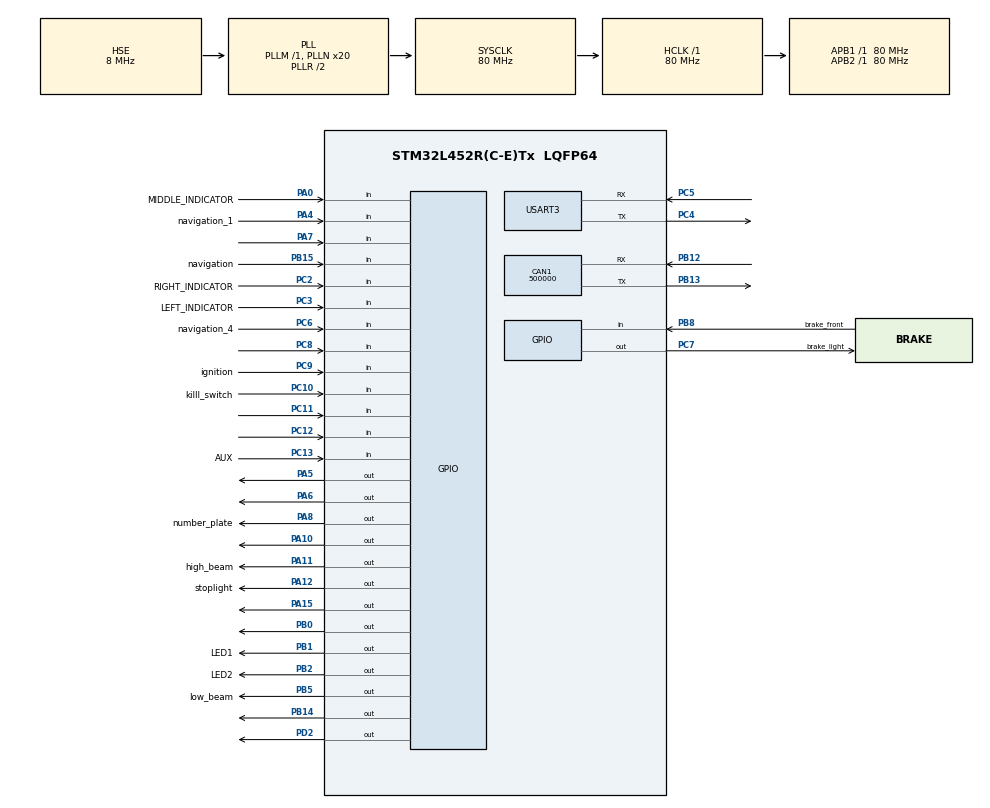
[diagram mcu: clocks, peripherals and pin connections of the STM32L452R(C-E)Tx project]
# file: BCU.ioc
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Mcu.Family=STM32L4
RCC.CortexFreq_Value=80000000
PC10.GPIO_PuPd=GPIO_PULLUP
NVIC.TIM6_DAC_IRQn=true\:0\:0\:false\:false\:true\:true\:true
PH0-OSC_IN\ (PH0).Signal=RCC_OSC_IN
PC12.Signal=GPIO_Input
PC10.Signal=GPIO_Input
PA0.GPIO_Label=MIDDLE_INDICATOR
PC6.GPIO_Label=navigation_4
PA15\ (JTDI).Signal=GPIO_Output
PC5.Mode=Asynchronous
PC13.GPIO_Label=AUX
PB13.Signal=CAN1_TX
PB15.Signal=GPIO_Input
RCC.SYSCLKSource=RCC_SYSCLKSOURCE_PLLCLK
ProjectManager.StackSize=0x400
USART3.VirtualMode-Asynchronous=VM_ASYNC
PC11.GPIO_PuPd=GPIO_PULLUP
PA14\ (JTCK/SWCLK).Signal=SYS_JTCK-SWCLK
PA12.Signal=GPIO_Output
RCC.HCLKFreq_Value=80000000
RCC.APB2TimFreq_Value=80000000
PC7.Signal=GPIO_Output
PC3.Signal=GPIO_Input
RCC.AHBFreq_Value=80000000
PH1-OSC_OUT\ (PH1).Mode=HSE-External-Oscillator
RCC.HSE_VALUE=8000000
PA4.GPIO_PuPd=GPIO_PULLUP
PB2.Signal=GPIO_Output
PB1.GPIO_Label=LED1
NVIC.TIM2_IRQn=true\:0\:0\:false\:false\:true\:true\:true
PC13.GPIO_PuPd=GPIO_PULLUP
PA8.Signal=GPIO_Output
PA14\ (JTCK/SWCLK).Mode=Serial_Wire
TIM6.Period=8000-1
PA0.Signal=GPIO_Input
Mcu.Package=LQFP64
TIM2.Prescaler=1000-1
PB14.GPIO_PuPd=GPIO_PULLDOWN
PB1.Signal=GPIO_Output
PA6.Signal=GPIO_Output
PB12.Mode=CAN_Activate
PB15.GPIO_PuPd=GPIO_PULLUP
PA0.GPIO_PuPd=GPIO_PULLUP
PA10.Signal=GPIO_Output
PC6.GPIO_PuPd=GPIO_PULLUP
PB5.GPIO_Label=low_beam
RCC.APB1TimFreq_Value=80000000
PC5.Signal=USART3_RX
PB13.Mode=CAN_Activate
PC12.GPIO_PuPd=GPIO_PULLUP
CAN1.CalculateTimeBit=2000.00
PA4.GPIO_Label=navigation_1
PH0-OSC_IN\ (PH0).Mode=HSE-External-Oscillator
PC2.GPIO_Label=RIGHT_INDICATOR
PC4.Mode=Asynchronous
RCC.HSI48_VALUE=48000000
CAN1.CalculateTimeQuantum=200.0
RCC.MSI_VALUE=4000000
RCC.PLLSourceVirtual=RCC_PLLSOURCE_HSE
PA13\ (JTMS/SWDIO).Mode=Serial_Wire
TIM2.CounterMode=TIM_COUNTERMODE_UP
PC10.GPIO_Label=killl_switch
PC9.GPIO_Label=ignition
PC11.Signal=GPIO_Input
PC13.Signal=GPIO_Input
CAN1.CalculateBaudRate=500000
PC8.Signal=GPIO_Input
PB8.GPIO_PuPd=GPIO_PULLUP
TIM6.Prescaler=1000-1
PC2.Signal=GPIO_Input
PC4.Signal=USART3_TX
PC6.Signal=GPIO_Input
VP_TIM6_VS_ClockSourceINT.Mode=Enable_Timer
PA11.GPIO_Label=high_beam
PA12.GPIO_Label=stoplight
PH1-OSC_OUT\ (PH1).Signal=RCC_OSC_OUT
TIM6.AutoReloadPreload=TIM_AUTORELOAD_PRELOAD_ENABLE
PB8.GPIO_Label=brake_front
PA8.GPIO_Label=number_plate
CAN1.BS2=CAN_BS2_3TQ
CAN1.BS1=CAN_BS1_6TQ
ProjectManager.TargetToolchain=STM32CubeIDE
RCC.USBFreq_Value=32000000
RCC.LSE_VALUE=32768
PA7.GPIO_PuPd=GPIO_PULLUP
PB14.Signal=GPIO_Output
PA5.Signal=GPIO_Output
board=custom
RCC.VCOOutputFreq_Value=160000000
RCC.APB2Freq_Value=80000000
PB15.GPIO_Label=navigation
VP_TIM2_VS_ClockSourceINT.Mode=Internal
RCC.ADCFreq_Value=32000000
PC9.GPIO_PuPd=GPIO_PULLUP
PC2.GPIO_PuPd=GPIO_PULLUP
TIM2.Period=40000-1
Mcu.Name=STM32L452R(C-E)Tx
PC7.GPIO_Label=brake_light
PC8.GPIO_PuPd=GPIO_PULLUP
PA4.Signal=GPIO_Input
RCC.SYSCLKFreq_VALUE=80000000
PB5.Signal=GPIO_Output
PA11.Signal=GPIO_Output
PB2.GPIO_Label=LED2
ProjectManager.HeapSize=0x200
RCC.HSI_VALUE=16000000
NVIC.PriorityGroup=NVIC_PRIORITYGROUP_4
RCC.PLLN=20
PB8.Signal=GPIO_Input
TIM2.AutoReloadPreload=TIM_AUTORELOAD_PRELOAD_ENABLE
PC3.GPIO_Label=LEFT_INDICATOR
PC9.Signal=GPIO_Input
PD2.Signal=GPIO_Output
RCC.APB1Freq_Value=80000000
PB0.Signal=GPIO_Output
PB12.Signal=CAN1_RX
PA13\ (JTMS/SWDIO).Signal=SYS_JTMS-SWDIO
PC3.GPIO_PuPd=GPIO_PULLUP
PA7.Signal=GPIO_Input

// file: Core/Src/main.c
/* USER CODE BEGIN Header */
/**
 ******************************************************************************
 * @file           : main.c
 * @brief          : Main program body
 ******************************************************************************
 * @attention
 *
 * <h2><center>&copy; Copyright (c) 2021 STMicroelectronics.
 * All rights reserved.</center></h2>
 *
 * This software component is licensed by ST under BSD 3-Clause license,
 * the "License"; You may not use this file except in compliance with the
 * License. You may obtain a copy of the License at:
 *                        opensource.org/licenses/BSD-3-Clause
 *
 ******************************************************************************
 */
/* USER CODE END Header */
#include "main.h"

/* USER CODE BEGIN Includes */
#include "J1939.H"
#include "stdlib.h"
#include "J1939_Config.H"
#include <stdint.h>
#include <stdlib.h>
#include <switch.H>
/* USER CODE END Includes */

/* USER CODE BEGIN PTD */
#define BCU
/* USER CODE END PTD */

CAN_HandleTypeDef hcan1;

TIM_HandleTypeDef htim2;
TIM_HandleTypeDef htim6;

UART_HandleTypeDef huart3;

/* USER CODE BEGIN PV */
uint8_t response_data[8];
char uart_buf[50];
int uart_buf_len;
uint16_t timer_val;
uint16_t ran;
j1939_uint8_t  *info;
j1939_uint8_t _info;
struct Key_Info Key_Infovar;
struct Motorcontroller_Status Motorcontroller_Statusvar;
struct Switch_Info Switch_Infovar;
struct Motorcontroller_command Motorcontroller_commandvar;
struct BMS_Status BMS_Statusvar;
struct VCU_Status VCU_Statusvar;

 uint8_t flag1=1;
 uint8_t flag2=1;
 uint8_t cnt1=0;
 uint8_t  count=0;
 uint8_t count1=0;
J1939_MESSAGE Message;
/* USER CODE END PV */

void SystemClock_Config(void);
static void MX_GPIO_Init(void);
static void MX_CAN1_Init(void);
static void MX_TIM6_Init(void);
static void MX_USART3_UART_Init(void);
static void MX_TIM2_Init(void);

/* USER CODE BEGIN 0 */
void sendMsg_KEYINFO(J1939_MESSAGE *Message)
{

	J1939_MESSAGE _msgKEYINFO;
	_msgKEYINFO=*Message;

	//uint8_t buf[]="2";
	_msgKEYINFO.Mxe.DataPage = 0;
	_msgKEYINFO.Mxe.Priority = 0x01;
	_msgKEYINFO.Mxe.DestinationAddress = 0x33;//changed from 33 to 31//destination is all
	_msgKEYINFO.Mxe.DataLength = 8;
	_msgKEYINFO.Mxe.PDUFormat = 0xf1;
	_msgKEYINFO.Mxe.SourceAddress = 0x33;

	//	_msgKEYINFO.Mxe.Data[0] = 0;
	//	_msgKEYINFO.Mxe.Data[1] = 0;
	//	_msgKEYINFO.Mxe.Data[2] = 0;
	//	_msgKEYINFO.Mxe.Data[3] = 0;
	//	_msgKEYINFO.Mxe.Data[4] = 0;
	//	_msgKEYINFO.Mxe.Data[5] = 0;
	//	_msgKEYINFO.Mxe.Data[6] = 0;
	//	_msgKEYINFO.Mxe.Data[7] = 'k';

	//J1939_TP_TX_Message(0xf133, 0xff, buf,1);
	while (J1939_Send_Message(&_msgKEYINFO)!= RC_SUCCESS);

	//HAL_UART_Transmit(&huart3,"send msg from keyinfo\r\n", 30, 1000);
}

void sendMsg_MOTORCONTROLLERCOMMANDS(J1939_MESSAGE *Message)
{
	J1939_MESSAGE _msgMOTORCONTROLLER_COMMANDS;
	_msgMOTORCONTROLLER_COMMANDS=*Message;

	//uint8_t buf[]="2";
	_msgMOTORCONTROLLER_COMMANDS.Mxe.DataPage = 0;
	_msgMOTORCONTROLLER_COMMANDS.Mxe.Priority = 0x03;
	_msgMOTORCONTROLLER_COMMANDS.Mxe.DestinationAddress = 0x11;
	_msgMOTORCONTROLLER_COMMANDS.Mxe.DataLength = 8;
	_msgMOTORCONTROLLER_COMMANDS.Mxe.PDUFormat = 0x17;
	_msgMOTORCONTROLLER_COMMANDS.Mxe.SourceAddress = 0x33;
	_msgMOTORCONTROLLER_COMMANDS.Mxe.PGN=0x1700;

	//	_msgMOTORCONTROLLER_COMMANDS.Mxe.Data[0] = 0x05;
	//	_msgMOTORCONTROLLER_COMMANDS.Mxe.Data[1] = 0;
	//	_msgMOTORCONTROLLER_COMMANDS.Mxe.Data[2] = 0;
	//	_msgMOTORCONTROLLER_COMMANDS.Mxe.Data[3] = 0;
	//	_msgMOTORCONTROLLER_COMMANDS.Mxe.Data[4] = 0;
	//	_msgMOTORCONTROLLER_COMMANDS.Mxe.Data[5] = 0;
	//	_msgMOTORCONTROLLER_COMMANDS.Mxe.Data[6] = 0;
	//	_msgMOTORCONTROLLER_COMMANDS.Mxe.Data[7] = '3';

	//J1939_TP_TX_Message(0xf133, 0xff, buf,1);
	while (J1939_Send_Message( &_msgMOTORCONTROLLER_COMMANDS) != RC_SUCCESS);
//	HAL_UART_Transmit(&huart3,"send msg from switchmotor\r\n", 30, 1000);

}

void sendMsg_SWITCHINFO(J1939_MESSAGE *Message)
{

	J1939_MESSAGE _msgSWITCHINFO;
	_msgSWITCHINFO=*Message;

	//uint8_t buf[]="2";
	_msgSWITCHINFO.Mxe.DataPage = 0;
	_msgSWITCHINFO.Mxe.Priority = 0x03;
	_msgSWITCHINFO.Mxe.DestinationAddress = 0x22;
	_msgSWITCHINFO.Mxe.DataLength = 8;
	_msgSWITCHINFO.Mxe.PDUFormat = 0x15;
	_msgSWITCHINFO.Mxe.SourceAddress = 0x33;

	//	_msgSWITCHINFO.Mxe.Data[0] = 0;
	//	_msgSWITCHINFO.Mxe.Data[1] = 0;
	//	_msgSWITCHINFO.Mxe.Data[2] = 0;
	//	_msgSWITCHINFO.Mxe.Data[3] = 0;
	//	_msgSWITCHINFO.Mxe.Data[4] = 0;
	//	_msgSWITCHINFO.Mxe.Data[5] = 0;
	//	_msgSWITCHINFO.Mxe.Data[6] = 0;
	//	_msgSWITCHINFO.Mxe.Data[7] = 's';

	//J1939_TP_TX_Message(0xf133, 0xff, buf,1);
	while (J1939_Send_Message( &_msgSWITCHINFO) != RC_SUCCESS);
//	HAL_UART_Transmit(&huart3,"send msg from switchinfo\r\n", 30, 1000);

}
void sendMsg_BMSSTATUS(J1939_MESSAGE *Message)
{
	J1939_MESSAGE _msgBMSSTATUS;

	_msgBMSSTATUS=*Message;
	_msgBMSSTATUS.Mxe.DataPage = 0;
	_msgBMSSTATUS.Mxe.Priority = 0x03;
	_msgBMSSTATUS.Mxe.DestinationAddress = 0x22;
	_msgBMSSTATUS.Mxe.DataLength = 8;
	_msgBMSSTATUS.Mxe.PDUFormat = 0xF4;
	_msgBMSSTATUS.Mxe.SourceAddress = 0x44;

//	_msgBMSSTATUS.Mxe.Data[0] = 0;
//	_msgBMSSTATUS.Mxe.Data[1] = 0;
//	_msgBMSSTATUS.Mxe.Data[2] = 0;
//	_msgBMSSTATUS.Mxe.Data[3] = 0;
//	_msgBMSSTATUS.Mxe.Data[4] = 0;
//	_msgBMSSTATUS.Mxe.Data[5] = 0;
//	_msgBMSSTATUS.Mxe.Data[6] = 0;
//	_msgBMSSTATUS.Mxe.Data[7] = 0;

	//J1939_TP_TX_Message(0xf133, 0xff, buf,1);
	while (J1939_Send_Message( &_msgBMSSTATUS) != RC_SUCCESS);
}

void sendMsg_MOTORCONTROLLERSTATUS(J1939_MESSAGE *Message)
{
	J1939_MESSAGE _msgMOTORCONTROLLERSTATUS;
	_msgMOTORCONTROLLERSTATUS =*Message;

	_msgMOTORCONTROLLERSTATUS.Mxe.DataPage = 0;
	_msgMOTORCONTROLLERSTATUS.Mxe.Priority = 0x03;
	_msgMOTORCONTROLLERSTATUS.Mxe.DestinationAddress = 0x33;//ds to all
	_msgMOTORCONTROLLERSTATUS.Mxe.DataLength = 1;
	_msgMOTORCONTROLLERSTATUS.Mxe.PDUFormat = 0xF2;
	_msgMOTORCONTROLLERSTATUS.Mxe.SourceAddress = 0x11;

//	_msgMOTORCONTROLLERSTATUS.Mxe.Data[0] = Motorcontroller_Statusvar.motorcontroller_state;
//	_msgMOTORCONTROLLERSTATUS.Mxe.Data[1] = 0;
//	_msgMOTORCONTROLLERSTATUS.Mxe.Data[2] = 0;
//	_msgMOTORCONTROLLERSTATUS.Mxe.Data[3] = 0;
//	_msgMOTORCONTROLLERSTATUS.Mxe.Data[4] = 0;
//	_msgMOTORCONTROLLERSTATUS.Mxe.Data[5] = 0;
//	_msgMOTORCONTROLLERSTATUS.Mxe.Data[6] = 0;
//	_msgMOTORCONTROLLERSTATUS.Mxe.Data[7] = 0;

	//J1939_TP_TX_Message(0xf133, 0xff, buf,1);
	while (J1939_Send_Message( &_msgMOTORCONTROLLERSTATUS) != RC_SUCCESS);

}

void readMsg( )
{

	J1939_MESSAGE _msg;

	//		j1939_uint8_t _data[50];
	//		TP_RX_MESSAGE _tp_msg;
	//		uint8_t s;
	//		_tp_msg.data = _data;
	//		_tp_msg.data_num=50;
	//		if(J1939_TP_RX_Message(&_tp_msg)==RC_SUCCESS)
	//		    {
	//
	//		    	   s++;
	//		    }

	if(J1939_Read_Message(&_msg) == RC_SUCCESS)
	{
		//BMS STATUS
		if(_msg.Mxe.PGN == 0xF422)
		{
			uint8_t a;
			a++;

		}
		//MOTORCONTROLLER STATUS
		else if(_msg.Mxe.PGN == 0xF233)
		{
			flag1=0;

		}
		//VCU STATUS
		else if(_msg.Mxe.PGN == 0X100)
		{
			flag2=0;

		}
		else
			;
	}

}
/* USER CODE END 0 */

int main(void)
{

  /* MCU Configuration--------------------------------------------------------*/

  /* Reset of all peripherals, Initializes the Flash interface and the Systick. */
  HAL_Init();

  /* USER CODE BEGIN Init */
	Key_Infovar.Key_In=0;
	Key_Infovar.Key_Off=0;
//	Microcontroller_Statusvar.motorcontroller_state=0;
	Motorcontroller_commandvar.brake=0;
	Motorcontroller_commandvar.ignition_command=0;

	Switch_Infovar.killswitch=0;
	Switch_Infovar.brake=0;
	Switch_Infovar.indicator=0;
	Switch_Infovar.highbeam=0;
	Switch_Infovar.navigation=0;
	BMS_Statusvar.BMS_Status=0;

  /* USER CODE END Init */

  /* Configure the system clock */
  SystemClock_Config();

  /* Initialize all configured peripherals */
  MX_GPIO_Init();
  MX_CAN1_Init();
  MX_TIM6_Init();
  MX_USART3_UART_Init();
  MX_TIM2_Init();
  /* USER CODE BEGIN 2 */

	HAL_GPIO_WritePin(GPIOB,GPIO_PIN_14,0);//stb used only microchip
	//HAL_GPIO_WritePin(GPIOC,GPIO_PIN_8,1);//voltage
	//HAL_CAN_ActivateNotification(&hcan1,CAN_IT_RX_FIFO0_MSG_PENDING|CAN_IT_ERROR);// interrupts activation
	J1939_SetAddressFilter();
	if(HAL_CAN_Start(&hcan1)!=HAL_OK)
	{
//		HAL_UART_Transmit(&huart3,"error in can_start\n\r", 20, 1000);
		Error_Handler();

	}
	J1939_Initialization();
	//HAL_TIM_Base_Start(&htim6);
	//HAL_TIM_Base_Start_IT(&htim6);

  /* USER CODE END 2 */

  /* Infinite loop */
  /* USER CODE BEGIN WHILE */
	while (1)
	{
		switches_call();

    /* USER CODE END WHILE */

		}
}

void SystemClock_Config(void)
{
  RCC_OscInitTypeDef RCC_OscInitStruct = {0};
  RCC_ClkInitTypeDef RCC_ClkInitStruct = {0};
  RCC_PeriphCLKInitTypeDef PeriphClkInit = {0};

  /** Initializes the RCC Oscillators according to the specified parameters
  * in the RCC_OscInitTypeDef structure.
  */
  RCC_OscInitStruct.OscillatorType = RCC_OSCILLATORTYPE_HSE;
  RCC_OscInitStruct.HSEState = RCC_HSE_ON;
  RCC_OscInitStruct.PLL.PLLState = RCC_PLL_ON;
  RCC_OscInitStruct.PLL.PLLSource = RCC_PLLSOURCE_HSE;
  RCC_OscInitStruct.PLL.PLLM = 1;
  RCC_OscInitStruct.PLL.PLLN = 20;
  RCC_OscInitStruct.PLL.PLLP = RCC_PLLP_DIV7;
  RCC_OscInitStruct.PLL.PLLQ = RCC_PLLQ_DIV2;
  RCC_OscInitStruct.PLL.PLLR = RCC_PLLR_DIV2;
  if (HAL_RCC_OscConfig(&RCC_OscInitStruct) != HAL_OK)
  {
    Error_Handler();
  }
  /** Initializes the CPU, AHB and APB buses clocks
  */
  RCC_ClkInitStruct.ClockType = RCC_CLOCKTYPE_HCLK|RCC_CLOCKTYPE_SYSCLK
                              |RCC_CLOCKTYPE_PCLK1|RCC_CLOCKTYPE_PCLK2;
  RCC_ClkInitStruct.SYSCLKSource = RCC_SYSCLKSOURCE_PLLCLK;
  RCC_ClkInitStruct.AHBCLKDivider = RCC_SYSCLK_DIV1;
  RCC_ClkInitStruct.APB1CLKDivider = RCC_HCLK_DIV1;
  RCC_ClkInitStruct.APB2CLKDivider = RCC_HCLK_DIV1;

  if (HAL_RCC_ClockConfig(&RCC_ClkInitStruct, FLASH_LATENCY_4) != HAL_OK)
  {
    Error_Handler();
  }
  PeriphClkInit.PeriphClockSelection = RCC_PERIPHCLK_USART3;
  PeriphClkInit.Usart3ClockSelection = RCC_USART3CLKSOURCE_PCLK1;
  if (HAL_RCCEx_PeriphCLKConfig(&PeriphClkInit) != HAL_OK)
  {
    Error_Handler();
  }
  /** Configure the main internal regulator output voltage
  */
  if (HAL_PWREx_ControlVoltageScaling(PWR_REGULATOR_VOLTAGE_SCALE1) != HAL_OK)
  {
    Error_Handler();
  }
}

static void MX_CAN1_Init(void)
{

  hcan1.Instance = CAN1;
  hcan1.Init.Prescaler = 16;
  hcan1.Init.Mode = CAN_MODE_NORMAL;
  hcan1.Init.SyncJumpWidth = CAN_SJW_1TQ;
  hcan1.Init.TimeSeg1 = CAN_BS1_6TQ;
  hcan1.Init.TimeSeg2 = CAN_BS2_3TQ;
  hcan1.Init.TimeTriggeredMode = DISABLE;
  hcan1.Init.AutoBusOff = DISABLE;
  hcan1.Init.AutoWakeUp = DISABLE;
  hcan1.Init.AutoRetransmission = DISABLE;
  hcan1.Init.ReceiveFifoLocked = DISABLE;
  hcan1.Init.TransmitFifoPriority = DISABLE;
  if (HAL_CAN_Init(&hcan1) != HAL_OK)
  {
    Error_Handler();
  }

}

static void MX_TIM2_Init(void)
{

  TIM_ClockConfigTypeDef sClockSourceConfig = {0};
  TIM_MasterConfigTypeDef sMasterConfig = {0};

  htim2.Instance = TIM2;
  htim2.Init.Prescaler = 1000-1;
  htim2.Init.CounterMode = TIM_COUNTERMODE_UP;
  htim2.Init.Period = 40000-1;
  htim2.Init.ClockDivision = TIM_CLOCKDIVISION_DIV1;
  htim2.Init.AutoReloadPreload = TIM_AUTORELOAD_PRELOAD_ENABLE;
  if (HAL_TIM_Base_Init(&htim2) != HAL_OK)
  {
    Error_Handler();
  }
  sClockSourceConfig.ClockSource = TIM_CLOCKSOURCE_INTERNAL;
  if (HAL_TIM_ConfigClockSource(&htim2, &sClockSourceConfig) != HAL_OK)
  {
    Error_Handler();
  }
  sMasterConfig.MasterOutputTrigger = TIM_TRGO_RESET;
  sMasterConfig.MasterSlaveMode = TIM_MASTERSLAVEMODE_DISABLE;
  if (HAL_TIMEx_MasterConfigSynchronization(&htim2, &sMasterConfig) != HAL_OK)
  {
    Error_Handler();
  }

}

static void MX_TIM6_Init(void)
{

  TIM_MasterConfigTypeDef sMasterConfig = {0};

  htim6.Instance = TIM6;
  htim6.Init.Prescaler = 1000-1;
  htim6.Init.CounterMode = TIM_COUNTERMODE_UP;
  htim6.Init.Period = 8000-1;
  htim6.Init.AutoReloadPreload = TIM_AUTORELOAD_PRELOAD_ENABLE;
  if (HAL_TIM_Base_Init(&htim6) != HAL_OK)
  {
    Error_Handler();
  }
  sMasterConfig.MasterOutputTrigger = TIM_TRGO_RESET;
  sMasterConfig.MasterSlaveMode = TIM_MASTERSLAVEMODE_DISABLE;
  if (HAL_TIMEx_MasterConfigSynchronization(&htim6, &sMasterConfig) != HAL_OK)
  {
    Error_Handler();
  }

}

static void MX_USART3_UART_Init(void)
{

  huart3.Instance = USART3;
  huart3.Init.BaudRate = 115200;
  huart3.Init.WordLength = UART_WORDLENGTH_8B;
  huart3.Init.StopBits = UART_STOPBITS_1;
  huart3.Init.Parity = UART_PARITY_NONE;
  huart3.Init.Mode = UART_MODE_TX_RX;
  huart3.Init.HwFlowCtl = UART_HWCONTROL_NONE;
  huart3.Init.OverSampling = UART_OVERSAMPLING_16;
  huart3.Init.OneBitSampling = UART_ONE_BIT_SAMPLE_DISABLE;
  huart3.AdvancedInit.AdvFeatureInit = UART_ADVFEATURE_NO_INIT;
  if (HAL_UART_Init(&huart3) != HAL_OK)
  {
    Error_Handler();
  }

}

static void MX_GPIO_Init(void)
{
  GPIO_InitTypeDef GPIO_InitStruct = {0};

  /* GPIO Ports Clock Enable */
  __HAL_RCC_GPIOC_CLK_ENABLE();
  __HAL_RCC_GPIOH_CLK_ENABLE();
  __HAL_RCC_GPIOA_CLK_ENABLE();
  __HAL_RCC_GPIOB_CLK_ENABLE();
  __HAL_RCC_GPIOD_CLK_ENABLE();

  /*Configure GPIO pin Output Level */
  HAL_GPIO_WritePin(GPIOA, GPIO_PIN_5|GPIO_PIN_6|number_plate_Pin|GPIO_PIN_10
                          |high_beam_Pin|stoplight_Pin|GPIO_PIN_15, GPIO_PIN_RESET);

  /*Configure GPIO pin Output Level */
  HAL_GPIO_WritePin(GPIOB, GPIO_PIN_0|LED1_Pin|LED2_Pin|GPIO_PIN_14
                          |low_beam_Pin, GPIO_PIN_RESET);

  /*Configure GPIO pin Output Level */
  HAL_GPIO_WritePin(brake_light_GPIO_Port, brake_light_Pin, GPIO_PIN_RESET);

  /*Configure GPIO pin Output Level */
  HAL_GPIO_WritePin(GPIOD, GPIO_PIN_2, GPIO_PIN_RESET);

  /*Configure GPIO pins : AUX_Pin RIGHT_INDICATOR_Pin LEFT_INDICATOR_Pin navigation_4_Pin
                           PC8 ignition_Pin killl_switch_Pin PC11
                           PC12 */
  GPIO_InitStruct.Pin = AUX_Pin|RIGHT_INDICATOR_Pin|LEFT_INDICATOR_Pin|navigation_4_Pin
                          |GPIO_PIN_8|ignition_Pin|killl_switch_Pin|GPIO_PIN_11
                          |GPIO_PIN_12;
  GPIO_InitStruct.Mode = GPIO_MODE_INPUT;
  GPIO_InitStruct.Pull = GPIO_PULLUP;
  HAL_GPIO_Init(GPIOC, &GPIO_InitStruct);

  /*Configure GPIO pins : MIDDLE_INDICATOR_Pin navigation_1_Pin PA7 */
  GPIO_InitStruct.Pin = MIDDLE_INDICATOR_Pin|navigation_1_Pin|GPIO_PIN_7;
  GPIO_InitStruct.Mode = GPIO_MODE_INPUT;
  GPIO_InitStruct.Pull = GPIO_PULLUP;
  HAL_GPIO_Init(GPIOA, &GPIO_InitStruct);

  /*Configure GPIO pins : PA5 PA6 number_plate_Pin PA10
                           high_beam_Pin stoplight_Pin PA15 */
  GPIO_InitStruct.Pin = GPIO_PIN_5|GPIO_PIN_6|number_plate_Pin|GPIO_PIN_10
                          |high_beam_Pin|stoplight_Pin|GPIO_PIN_15;
  GPIO_InitStruct.Mode = GPIO_MODE_OUTPUT_PP;
  GPIO_InitStruct.Pull = GPIO_NOPULL;
  GPIO_InitStruct.Speed = GPIO_SPEED_FREQ_LOW;
  HAL_GPIO_Init(GPIOA, &GPIO_InitStruct);

  /*Configure GPIO pins : PB0 LED1_Pin LED2_Pin low_beam_Pin */
  GPIO_InitStruct.Pin = GPIO_PIN_0|LED1_Pin|LED2_Pin|low_beam_Pin;
  GPIO_InitStruct.Mode = GPIO_MODE_OUTPUT_PP;
  GPIO_InitStruct.Pull = GPIO_NOPULL;
  GPIO_InitStruct.Speed = GPIO_SPEED_FREQ_LOW;
  HAL_GPIO_Init(GPIOB, &GPIO_InitStruct);

  /*Configure GPIO pin : PB14 */
  GPIO_InitStruct.Pin = GPIO_PIN_14;
  GPIO_InitStruct.Mode = GPIO_MODE_OUTPUT_PP;
  GPIO_InitStruct.Pull = GPIO_PULLDOWN;
  GPIO_InitStruct.Speed = GPIO_SPEED_FREQ_LOW;
  HAL_GPIO_Init(GPIOB, &GPIO_InitStruct);

  /*Configure GPIO pins : navigation_Pin brake_front_Pin */
  GPIO_InitStruct.Pin = navigation_Pin|brake_front_Pin;
  GPIO_InitStruct.Mode = GPIO_MODE_INPUT;
  GPIO_InitStruct.Pull = GPIO_PULLUP;
  HAL_GPIO_Init(GPIOB, &GPIO_InitStruct);

  /*Configure GPIO pin : brake_light_Pin */
  GPIO_InitStruct.Pin = brake_light_Pin;
  GPIO_InitStruct.Mode = GPIO_MODE_OUTPUT_PP;
  GPIO_InitStruct.Pull = GPIO_NOPULL;
  GPIO_InitStruct.Speed = GPIO_SPEED_FREQ_LOW;
  HAL_GPIO_Init(brake_light_GPIO_Port, &GPIO_InitStruct);

  /*Configure GPIO pin : PD2 */
  GPIO_InitStruct.Pin = GPIO_PIN_2;
  GPIO_InitStruct.Mode = GPIO_MODE_OUTPUT_PP;
  GPIO_InitStruct.Pull = GPIO_NOPULL;
  GPIO_InitStruct.Speed = GPIO_SPEED_FREQ_LOW;
  HAL_GPIO_Init(GPIOD, &GPIO_InitStruct);

}

/* USER CODE BEGIN 4 */

	void HAL_GPIO_EXTI_Callback(uint16_t GPIO_PIN)
	{
		if(GPIO_PIN==GPIO_PIN_11)
		{
			count++;//odd num on even off the key
			//count1=count;
			if(count%2==1)
			{
				count1=count;
				Key_Infovar.Key_Off=0;
				Key_Infovar.Key_In=1;
				Message.Mxe.Data[0]=0x02;
				HAL_TIM_Base_Start(&htim6);
				timer_val = __HAL_TIM_GET_COUNTER(&htim6);
				__HAL_TIM_ENABLE(&htim2);
				HAL_TIM_Base_Start_IT(&htim2);
				timer_val = __HAL_TIM_GET_COUNTER(&htim6) - timer_val;

				//sendMsg_KEYINFO(&Message);
				//memset(Message.Mxe.Data, 0, 1*sizeof(Message.Mxe.Data[0]));

			}
			else
			{
				//send message to all nodes
				//count1=count;
				Key_Infovar.Key_Off=1;
				Key_Infovar.Key_In=0;
				Message.Mxe.Data[0]=0x01;
				sendMsg_KEYINFO(&Message);
				memset(Message.Mxe.Data, 0, 1*sizeof(Message.Mxe.Data[0]));
			}
			if(count>=254)
				count=0;

			//__NVIC_ClearPendingIRQ(EXTI1_IRQn);// to avoid key bouncing
		}
		else if(GPIO_PIN==GPIO_PIN_10)
		{
			//kill switch
			//when kill is pressed ignition should be off

			Switch_Infovar.killswitch=1;
			Message.Mxe.Data[0]=0x04;
			sendMsg_SWITCHINFO(&Message);
			memset(Message.Mxe.Data, 0, 1*sizeof(Message.Mxe.Data[0]));

		}
		else if(GPIO_PIN==GPIO_PIN_9)
		{
			//ignition switch
			Motorcontroller_commandvar.ignition_command=1;
			Message.Mxe.Data[0]=0x01;//
			sendMsg_MOTORCONTROLLERCOMMANDS(&Message);
			memset(Message.Mxe.Data, 0, 1*sizeof(Message.Mxe.Data[0]));

		}
		else if(GPIO_PIN==GPIO_PIN_4)
		{
			//navigation key_1
			uint8_t a;
			a++;
		}
		else if(GPIO_PIN==GPIO_PIN_7)
		{
			//navigation key_2
			uint8_t b;
			b++;

		}
		else if(GPIO_PIN==GPIO_PIN_15)
		{
			//navigation key_3
			uint8_t c;
			c++;

		}
		else if(GPIO_PIN==GPIO_PIN_6)
		{
			//navigation key_4
			uint8_t d;
			d++;

		}
		else if(GPIO_PIN==GPIO_PIN_8)
		{
			//navigation key_5
			uint8_t e;
			e++;

		}
		else if(GPIO_PIN==GPIO_PIN_2)
		{
			//right_indicator
			uint8_t f;
			f++;

		}
		else if(GPIO_PIN==GPIO_PIN_2)
		{
			//left_indicator
		}
		else if(GPIO_PIN==GPIO_PIN_8)
		{
			//brake_front
			uint8_t g;
			g++;

		}
		else
		{
			;
		}

	}

	void HAL_TIM_PeriodElapsedCallback(TIM_HandleTypeDef *htim)
	{
		if(count==count1)
		{
			Message.Mxe.Data[0]=_info1;

		}
		else
		{
			Message.Mxe.Data[0]=0x02;

		}
		sendMsg_KEYINFO(&Message);
		memset(Message.Mxe.Data, 0, 1*sizeof(Message.Mxe.Data[0]));

		//__NVIC_ClearPendingIRQ(EXTI15_10_IRQn);
		//NVIC_ClearPendingIRQ (EXTI15_10_IRQn);
		//__HAL_TIM_DISABLE(&htim2);
		HAL_TIM_Base_Stop_IT(&htim2);

	}

/* USER CODE END 4 */

void Error_Handler(void)
{
		__disable_irq();
		while (1)
		{
		}
}

/************************ (C) COPYRIGHT STMicroelectronics *****END OF FILE****/
